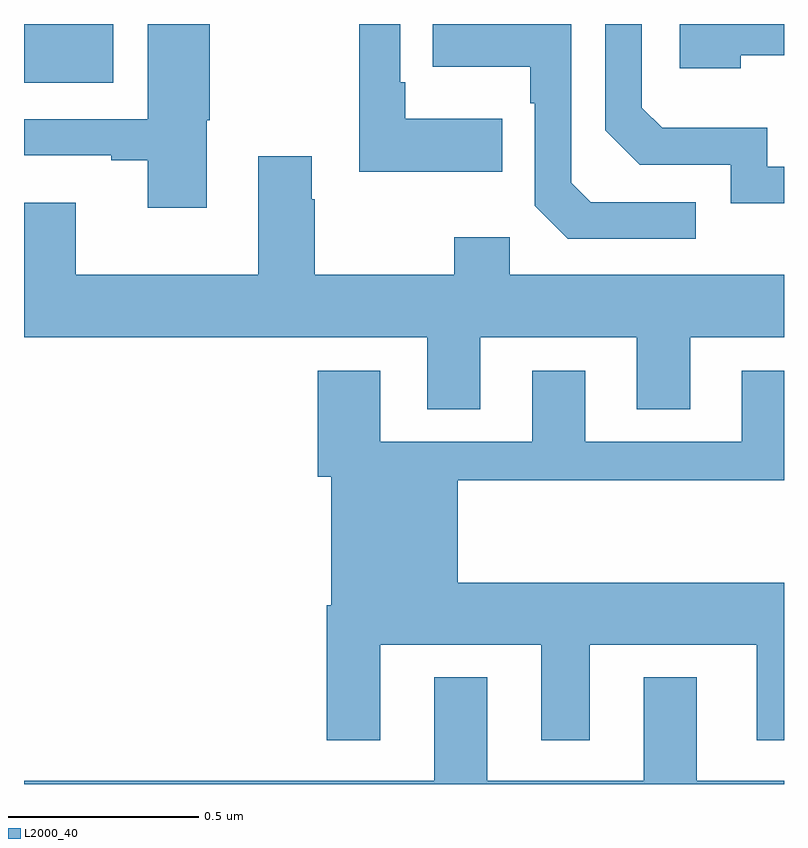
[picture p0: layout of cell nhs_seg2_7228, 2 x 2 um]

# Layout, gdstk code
import gdstk
lib = gdstk.Library(unit=1e-6, precision=1e-09)
def R(c, l, rs):  # rectangles x0, y0, x1, y1
    for r in rs: c.add(gdstk.rectangle(r[:2], r[2:], *l))
def P(c, l, *ps):  # polygons
    for p in ps: c.add(gdstk.Polygon(p, *l))
L2000_40 = (2000, 40)

nhs_seg2_7228 = lib.new_cell('nhs_seg2_7228')
R(nhs_seg2_7228, L2000_40, [(201,641.645,201.235,641.8)])
P(nhs_seg2_7228, L2000_40, [(203,641.424),(202.956,641.424),(202.956,641.527),(202.679,641.527),(202.626,641.58),(202.626,641.8),(202.53,641.8),(202.53,641.52),(202.62,641.43),(202.86,641.43),(202.86,641.328),(203,641.328)],
  [(202.886,641.718),(203,641.718),(203,641.8),(202.725,641.8),(202.725,641.684),(202.886,641.684)],
  [(201.481,641.547),(201.489,641.547),(201.489,641.8),(201.326,641.8),(201.326,641.55),(201,641.55),(201,641.454),(201.23,641.454),(201.23,641.442),(201.326,641.442),(201.326,641.316),(201.481,641.316)],
  [(202.259,641.551),(202.003,641.551),(202.003,641.647),(201.99,641.647),(201.99,641.8),(201.882,641.8),(201.882,641.411),(202.259,641.411)],
  [(202.768,641.331),(202.491,641.331),(202.44,641.382),(202.44,641.8),(202.075,641.8),(202.075,641.687),(202.332,641.687),(202.332,641.591),(202.344,641.591),(202.344,641.322),(202.431,641.235),(202.768,641.235)],
  [(202.201,640.976),(202.613,640.976),(202.613,640.786),(202.753,640.786),(202.753,640.976),(203,640.976),(203,641.14),(202.278,641.14),(202.278,641.239),(202.132,641.239),(202.132,641.14),(201.765,641.14),(201.765,641.339),(201.757,641.339),(201.757,641.452),(201.617,641.452),(201.617,641.14),(201.136,641.14),(201.136,641.329),(201,641.329),(201,640.976),(202.061,640.976),(202.061,640.786),(202.201,640.786)],
  [(201.937,640.166),(202.361,640.166),(202.361,639.915),(202.489,639.915),(202.489,640.166),(202.928,640.166),(202.928,639.915),(203,639.915),(203,640.33),(202.141,640.33),(202.141,640.6),(203,640.6),(203,640.888),(202.889,640.888),(202.889,640.701),(202.477,640.701),(202.477,640.888),(202.337,640.888),(202.337,640.701),(201.937,640.701),(201.937,640.888),(201.773,640.888),(201.773,640.608),(201.809,640.608),(201.809,640.27),(201.797,640.27),(201.797,639.915),(201.937,639.915)],
  [(203,639.808),(202.771,639.808),(202.771,640.081),(202.631,640.081),(202.631,639.808),(202.219,639.808),(202.219,640.081),(202.079,640.081),(202.079,639.808),(201,639.808),(201,639.8),(203,639.8)])

lib.write_gds('nhs_seg2_7228.gds')
